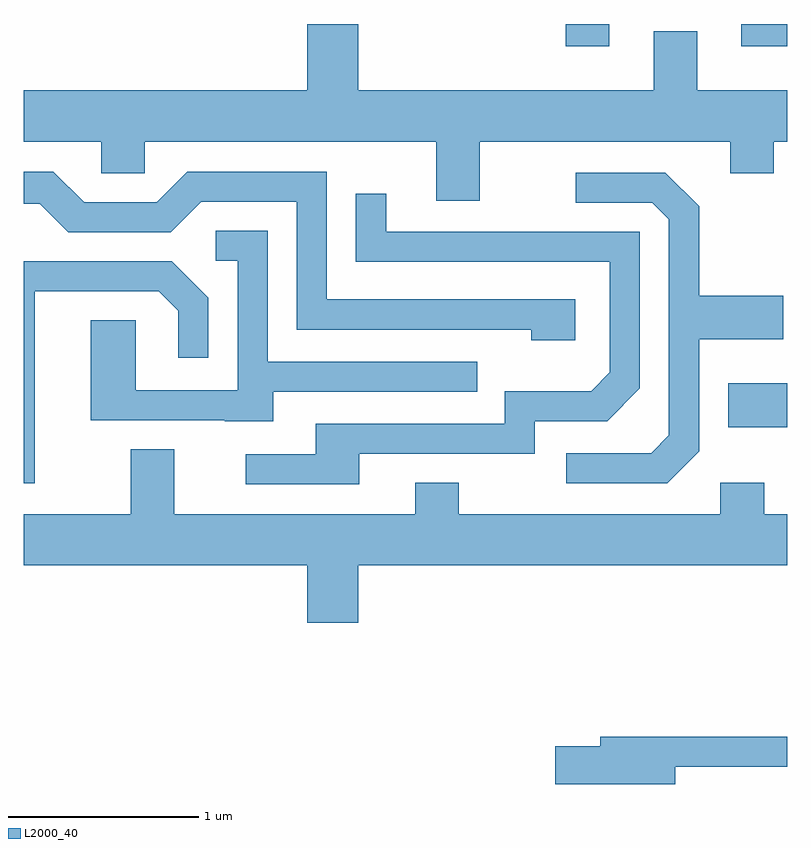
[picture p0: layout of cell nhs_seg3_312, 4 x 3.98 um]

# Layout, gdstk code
import gdstk
lib = gdstk.Library(unit=1e-6, precision=1e-09)
def R(c, l, rs):  # rectangles x0, y0, x1, y1
    for r in rs: c.add(gdstk.rectangle(r[:2], r[2:], *l))
def P(c, l, *ps):  # polygons
    for p in ps: c.add(gdstk.Polygon(p, *l))
L2000_40 = (2000, 40)

nhs_seg3_312 = lib.new_cell('nhs_seg3_312')
R(nhs_seg3_312, L2000_40, [(197.301,1197.781,197.611,1198.009), (196.451,1199.776,196.679,1199.892), (197.371,1199.776,197.611,1199.892)])
P(nhs_seg3_312, L2000_40, [(195.999,1199.276),(197.311,1199.276),(197.311,1199.111),(197.539,1199.111),(197.539,1199.276),(197.611,1199.276),(197.611,1199.544),(197.139,1199.544),(197.139,1199.854),(196.911,1199.854),(196.911,1199.544),(195.364,1199.544),(195.364,1199.892),(195.096,1199.892),(195.096,1199.544),(193.611,1199.544),(193.611,1199.276),(194.016,1199.276),(194.016,1199.111),(194.244,1199.111),(194.244,1199.276),(195.771,1199.276),(195.771,1198.966),(195.999,1198.966)],
  [(196.499,1198.449),(195.199,1198.449),(195.199,1199.119),(194.469,1199.119),(194.309,1198.959),(193.927,1198.959),(193.767,1199.119),(193.611,1199.119),(193.611,1198.951),(193.694,1198.951),(193.844,1198.801),(194.382,1198.801),(194.542,1198.961),(195.041,1198.961),(195.041,1198.291),(196.271,1198.291),(196.271,1198.236),(196.499,1198.236)],
  [(197.149,1197.654),(197.149,1198.241),(197.589,1198.241),(197.589,1198.469),(197.149,1198.469),(197.149,1198.937),(196.972,1199.114),(196.503,1199.114),(196.503,1198.956),(196.904,1198.956),(196.991,1198.869),(196.991,1197.737),(196.899,1197.644),(196.453,1197.644),(196.453,1197.486),(196.982,1197.486)],
  [(195.369,1197.641),(196.289,1197.641),(196.289,1197.811),(196.667,1197.811),(196.839,1197.984),(196.839,1198.804),(195.509,1198.804),(195.509,1199.003),(195.351,1199.003),(195.351,1198.646),(196.681,1198.646),(196.681,1198.067),(196.584,1197.969),(196.131,1197.969),(196.131,1197.799),(195.141,1197.799),(195.141,1197.639),(194.773,1197.639),(194.773,1197.481),(195.369,1197.481)],
  [(194.919,1197.966),(195.988,1197.966),(195.988,1198.124),(194.889,1198.124),(194.889,1198.809),(194.618,1198.809),(194.618,1198.651),(194.731,1198.651),(194.731,1197.974),(194.199,1197.974),(194.199,1198.339),(193.961,1198.339),(193.961,1197.816),(194.665,1197.816),(194.665,1197.811),(194.919,1197.811)],
  [(193.669,1198.491),(194.319,1198.491),(194.421,1198.389),(194.421,1198.143),(194.579,1198.143),(194.579,1198.457),(194.387,1198.649),(193.611,1198.649),(193.611,1197.486),(193.669,1197.486)],
  [(195.364,1197.056),(197.611,1197.056),(197.611,1197.324),(197.489,1197.324),(197.489,1197.489),(197.261,1197.489),(197.261,1197.324),(195.889,1197.324),(195.889,1197.489),(195.661,1197.489),(195.661,1197.324),(194.399,1197.324),(194.399,1197.664),(194.171,1197.664),(194.171,1197.324),(193.611,1197.324),(193.611,1197.056),(195.096,1197.056),(195.096,1196.756),(195.364,1196.756)],
  [(197.024,1196.001),(197.611,1196.001),(197.611,1196.159),(196.631,1196.159),(196.631,1196.109),(196.396,1196.109),(196.396,1195.911),(197.024,1195.911)])

lib.write_gds('nhs_seg3_312.gds')
